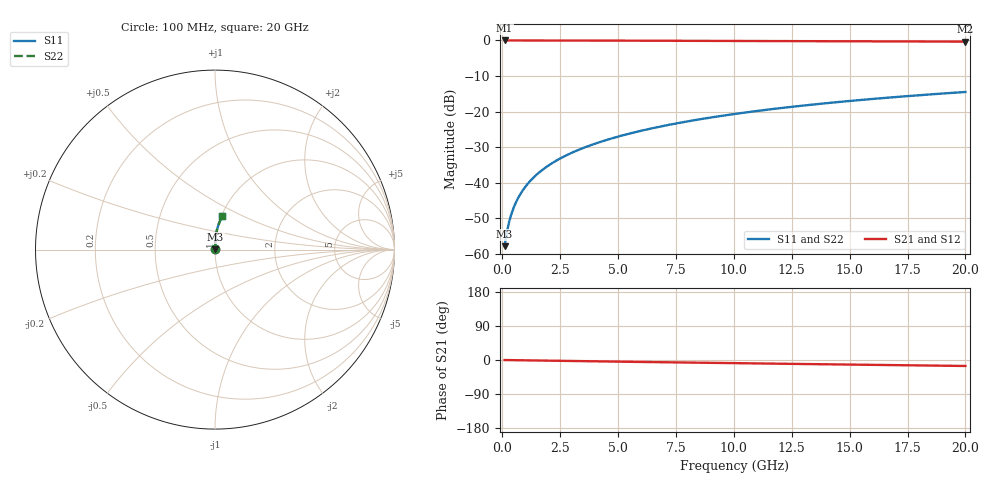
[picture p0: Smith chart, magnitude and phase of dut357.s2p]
! Touchstone file exported from HFSS 2024.1.0
!  File:  C:/UserFiles/LocalFiles/RDL_TSV_Batchsim/temp_RDL_bottom_357_1779612679.aedt
!  Generated:  04:53:36 PM May 24, 2026
!  Design:  RDL_bottom
!  Project:  temp_RDL_bottom_357_1779612679
!  Setup:  Setup1
!  Solution:  Sweep
! Variables:
!  dtsv = 10.80580581um
!  hbump = 3um
!  htsv = 60.16um
!  ldown = 180.39um
!  lrdl = 100um
!  p = 40
!  p1 = 52.44um
!  rhole = 1um
!  t = 450um
!  tdown = 4.57um
!  trdl = 3.915915916um
!  wdown = 18.82um
!  wrdl = 20um
# GHz S MA R 50.000000
! Terminal data exported
! Port[1] = RDL1_T1
! Port[2] = RDL1_T2
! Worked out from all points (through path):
!   200 points, 100 MHz to 20 GHz, reference 50 ohm
!   highest |S21| = -0.01 dB at 100 MHz (marker M1); lowest = -0.3 dB at 20 GHz (marker M2)
!   group delay of S21, straight-line fit = 2.17 ps
!   lowest |S11| = -57.8 dB at 100 MHz (marker M3), VSWR 1.00, Z = 50.1 + j0.0924 ohm
!   |S11| at or under -10 dB: start of sweep to end of sweep
!   |S22| runs from -57.8 to -14.5 dB; largest |S21 - S12| = 2.4e-15
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0.1  0.001285 45.9  0.9991 -0.1  0.9991 -0.1  0.001285 45.9
! Gamma 0 0 0 0
! Port Impedance 50 0 50 0
0.2  0.002045 62.9  0.9991 -0.2  0.9991 -0.2  0.002045 62.9
0.3  0.002864 70.3  0.999 -0.3  0.999 -0.3  0.002864 70.3
0.4  0.003699 74.5  0.999 -0.4  0.999 -0.4  0.003699 74.5
0.5  0.004541 77.2  0.9989 -0.5  0.9989 -0.5  0.004541 77.2
0.6  0.005389 79.1  0.9989 -0.5  0.9989 -0.5  0.005389 79.1
0.8  0.007099 81.6  0.9988 -0.7  0.9988 -0.7  0.007099 81.6
1.1  0.009685 83.8  0.9986 -1.0  0.9986 -1.0  0.009685 83.8
1.5  0.01316 85.4  0.9983 -1.3  0.9983 -1.3  0.01316 85.4
1.8  0.01578 86.1  0.9981 -1.6  0.9981 -1.6  0.01578 86.1
2.1  0.01841 86.6  0.9978 -1.9  0.9978 -1.9  0.01841 86.6
2.7  0.02371 87.2  0.9971 -2.4  0.9971 -2.4  0.02371 87.2
3.5  0.03085 87.7  0.9959 -3.1  0.9959 -3.1  0.03085 87.7
4.2  0.03718 87.8  0.9948 -3.7  0.9948 -3.7  0.03718 87.8
5  0.04451 87.9  0.9934 -4.3  0.9934 -4.3  0.04451 87.9
5.9  0.05288 87.7  0.9917 -5.1  0.9917 -5.1  0.05288 87.7
6.8  0.06137 87.4  0.9899 -5.8  0.9899 -5.8  0.06137 87.4
8.4  0.07671 86.7  0.9866 -7.1  0.9866 -7.1  0.07671 86.7
10.1  0.09323 85.6  0.9831 -8.4  0.9831 -8.4  0.09323 85.6
13.4  0.1255 83.1  0.9762 -10.9  0.9762 -10.9  0.1255 83.1
16.7  0.1574 80.5  0.9691 -13.3  0.9691 -13.3  0.1574 80.5
20  0.1887 77.8  0.9616 -15.8  0.9616 -15.8  0.1887 77.8
